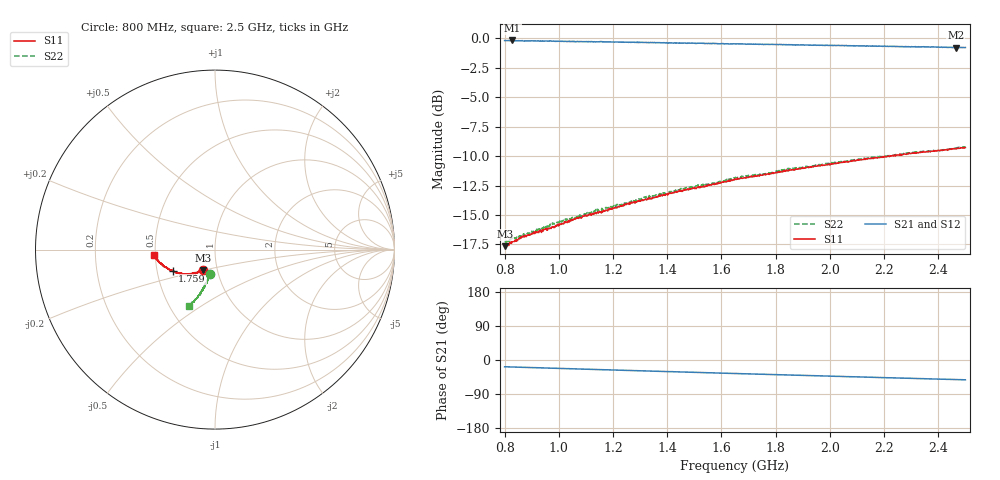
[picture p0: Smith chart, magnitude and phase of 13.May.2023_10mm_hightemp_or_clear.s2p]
!Keysight Technologies N9950B: A.12.38
!Date: Saturday, 13 May 2023 13:25:22
!Timezone: (UTC-06:00) Central Time (US & Canada)
!Model: N9950B
!Serial: MY61131330
!GPS Latitude:
!GPS Longitude:
!GPS TimeStamp: 0001-01-01 00:00:00Z
!GPS Seconds Since Last Read: 0
!CHECKSUM:1592572531
!Correction: S11(ON U)S21(ON U)S12(ON U)S22(ON U)
!S2P File: Measurements:S11,S21,S12,S22:
# Hz S DB R 50
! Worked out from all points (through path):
!   1001 points, 800 MHz to 2.5 GHz, reference 50 ohm
!   highest |S21| = -0.18 dB at 828.9 MHz (marker M1); lowest = -0.8 dB at 2.464 GHz (marker M2)
!   group delay of S21, straight-line fit = 56.2 ps
!   lowest |S11| = -17.6 dB at 801.7 MHz (marker M3), VSWR 1.30, Z = 42.7 - j9.8 ohm
!   |S11| at or under -10 dB: start of sweep to 2.222 GHz
!   |S22| runs from -17.3 to -9.2 dB; largest |S21 - S12| = 0.0051
!   S11 on the Smith chart (normalised r, x): 800 MHz: 0.85, -0.20; 1.759 GHz: 0.60, -0.15; 2.5 GHz: 0.49, -0.03
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8e8  -17.60 -121.2  -0.19 -17.9  -0.19 -17.8  -17.25 -101.6
8.017e8  -17.65 -120.6  -0.19 -17.9  -0.21 -17.9  -17.23 -100.9
8.289e8  -17.28 -121.1  -0.18 -18.5  -0.21 -18.5  -16.99 -100.8
8.663e8  -16.81 -123.0  -0.21 -19.3  -0.22 -19.4  -16.70 -101.2
9.972e8  -15.78 -127.7  -0.24 -22.2  -0.26 -22.2  -15.59 -102.7
1.0839e9  -15.23 -130.3  -0.28 -23.9  -0.28 -23.9  -15.07 -103.7
1.14e9  -14.80 -133.6  -0.29 -25.1  -0.31 -25.1  -14.64 -103.8
1.2488e9  -14.13 -136.5  -0.33 -27.3  -0.34 -27.3  -14.01 -105.1
1.3678e9  -13.44 -140.0  -0.37 -29.9  -0.39 -29.8  -13.29 -105.5
1.4732e9  -12.85 -144.1  -0.43 -32.0  -0.41 -32.1  -12.67 -107.0
1.5701e9  -12.34 -146.8  -0.43 -34.0  -0.45 -34.1  -12.28 -108.1
1.65e9  -12.00 -149.8  -0.48 -35.7  -0.48 -35.6  -11.86 -108.6
1.7588e9  -11.56 -153.2  -0.52 -37.8  -0.52 -37.8  -11.52 -109.2
1.8404e9  -11.17 -155.2  -0.55 -39.3  -0.55 -39.4  -11.12 -110.1
1.9339e9  -10.92 -159.0  -0.59 -41.4  -0.59 -41.2  -10.82 -110.5
2.0478e9  -10.54 -161.3  -0.62 -43.6  -0.64 -43.6  -10.51 -111.7
2.1379e9  -10.22 -164.9  -0.64 -45.3  -0.66 -45.3  -10.17 -112.3
2.2178e9  -10.01 -166.4  -0.68 -46.9  -0.69 -46.8  -9.97 -112.8
2.3589e9  -9.63 -171.2  -0.73 -49.6  -0.74 -49.5  -9.60 -113.4
2.4082e9  -9.51 -172.2  -0.76 -50.6  -0.78 -50.5  -9.54 -114.3
2.4643e9  -9.40 -173.9  -0.80 -51.6  -0.78 -51.6  -9.32 -115.2
2.5e9  -9.28 -175.1  -0.78 -52.3  -0.79 -52.3  -9.23 -114.9
